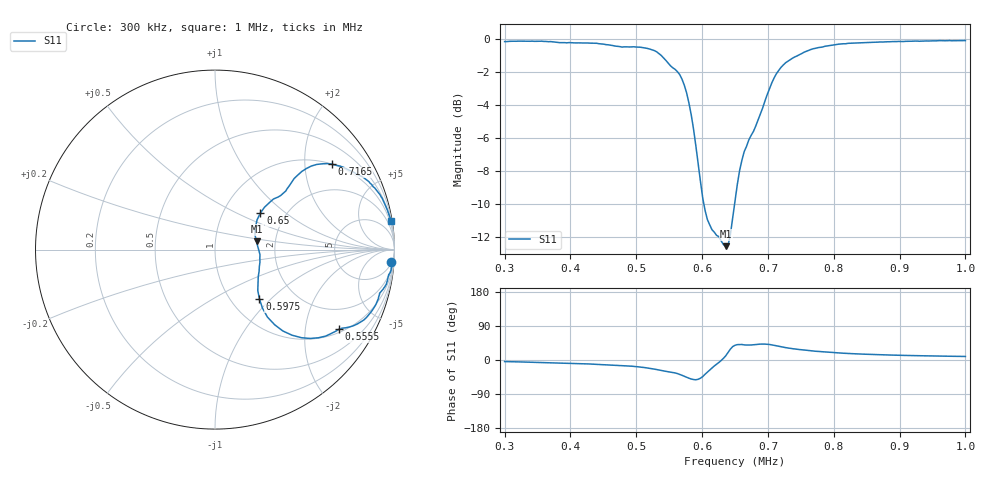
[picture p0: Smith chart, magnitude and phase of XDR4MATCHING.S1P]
!Agilent Technologies,E5071C,MY46100305,A.07.02
!Date: Fri Jan 01 00:17:33 1988
!Data & Calibration Information:
!Freq	S11:SOLT1(ON)
# Hz S MA R 50
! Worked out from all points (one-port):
!   201 points, 300 kHz to 1 MHz, reference 50 ohm
!   lowest |S11| = -12.5 dB at 636 kHz (marker M1), VSWR 1.62, Z = 79.6 + j7.8 ohm
!   |S11| at or under -10 dB: 602.8 kHz to 649.3 kHz (46.5 kHz wide, 7.43 % of centre)
!   S11 on the Smith chart (normalised r, x): 300 kHz: 5, -27; 555.5 kHz: 1.11, -3.03; 597.5 kHz: 1.34, -0.86; 650 kHz: 1.49, +0.68; 716.5 kHz: 1.00, +2.73; 1 MHz: 1, +12
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300000  0.9856 -4.2
387500  0.9786 -8.2
475000  0.9517 -14.6
496000  0.9504 -16.8
520500  0.9353 -22.0
541500  0.8794 -28.9
555500  0.8207 -32.8
562500  0.7987 -35.8
573000  0.7262 -43.0
580000  0.6416 -48.0
590500  0.4762 -52.2
597500  0.3713 -48.1
608000  0.2844 -32.1
625500  0.2522 -6.5
636000  0.2359 11.3
639500  0.2373 20.2
643000  0.256 28.8
650000  0.3242 38.8
657000  0.4003 40.8
664000  0.457 39.8
692000  0.6196 42.0
706000  0.739 39.9
716500  0.8062 36.2
737500  0.8778 29.8
772500  0.9405 23.1
825000  0.9743 17.0
912500  0.9873 12.0
1000000  0.9925 9.3
